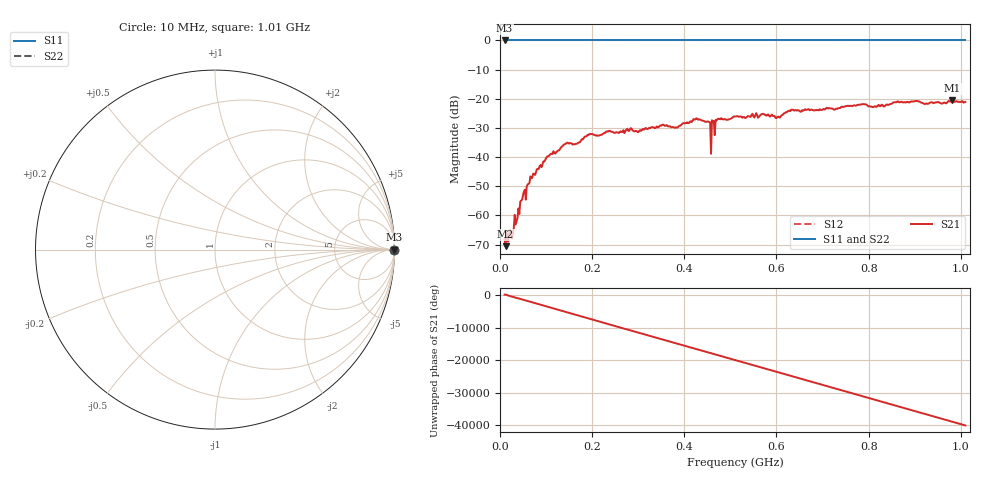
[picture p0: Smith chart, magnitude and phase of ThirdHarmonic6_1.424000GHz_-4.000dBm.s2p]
! 8/16/2025 4:23:04 PM
! C:\ANRITSUVNA\TEMP\TEMP.S2P
! CHANNEL.1
! TR.MEASUREMENT
! RAW.DATA
! RF.CORRECTION.OFF
! AVERAGING.OFF
! IF.BANDWIDTH: 5KHZ
! SWEEPTYPE:  FREQ.SWEEP(Linear)
! Reference Plane Port Info
! PORT:  PORT1  PORT2
! DISTANCE:  0  m  0  m
! TIME:  0  s  0  s
! PHASE.OFFSET:  0  deg.  0  deg.
! LOSS:  0  dB  0  dB
! REF.LOSS:  0  dB  0  dB
! REF.FREQ:  0  Hz  0  Hz
! Power Info
! POWER:  -20  dBm  -20  dBm
! EFF.POWER:  -20  dBm  -20  dBm
! SOURCE.ATTEN:  0  dB  0  dB
! TEST.ATTEN:  0  dB  0  dB
# GHZ S RI R 50.0
! FREQ.GHZ  S11RE  S11IM  S21RE  S21IM  S12RE  S12IM  S22RE  S22IM
!; PortSelection: Port_12
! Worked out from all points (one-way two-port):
!   501 points, 10 MHz to 1.01 GHz, reference 50 ohm
!   highest |S21| = -20.56 dB at 982 MHz (marker M1); lowest = -70.6 dB at 12 MHz (marker M2)
!   lowest |S11| = 0.0 dB at 10 MHz (marker M3)
!   |S11| at or under -10 dB: nowhere
!   |S22| runs from 0.0 to 0.0 dB; largest |S21 - S12| = 1.1
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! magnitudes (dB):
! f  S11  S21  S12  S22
! 10 MHz  0.0  -68.1  0.0  0.0
! 12 MHz  0.0  -70.6  0.0  0.0
! 26 MHz  0.0  -67.9  0.0  0.0
! 48 MHz  0.0  -54.6  0.0  0.0
! 70 MHz  0.0  -47.1  0.0  0.0
! 106 MHz  0.0  -39.6  0.0  0.0
! 178 MHz  0.0  -33.9  0.0  0.0
! 344 MHz  0.0  -29.8  0.0  0.0
! 382 MHz  0.0  -29.8  0.0  0.0
! 430 MHz  0.0  -27.2  0.0  0.0
! 452 MHz  0.0  -27.8  0.0  0.0
! 454 MHz  0.0  -28.0  0.0  0.0
! 462 MHz  0.0  -27.7  0.0  0.0
! 464 MHz  0.0  -27.6  0.0  0.0
! 472 MHz  0.0  -27.0  0.0  0.0
! 510 MHz  0.0  -26.1  0.0  0.0
! 602 MHz  0.0  -26.2  0.0  0.0
! 632 MHz  0.0  -23.8  0.0  0.0
! 678 MHz  0.0  -23.9  0.0  0.0
! 844 MHz  0.0  -22.0  0.0  0.0
! 982 MHz  0.0  -20.6  0.0  0.0
! 1.01 GHz  0.0  -21.1  0.0  0.0
